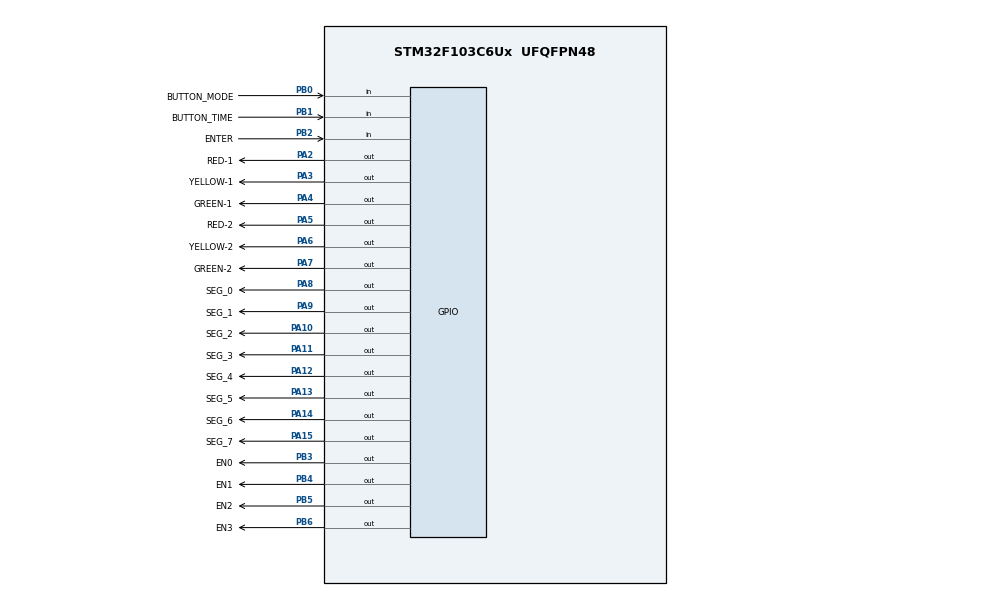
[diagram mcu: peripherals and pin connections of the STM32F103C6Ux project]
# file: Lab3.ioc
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Mcu.Family=STM32F1
Mcu.Name=STM32F103C6Ux
Mcu.Package=UFQFPN48
NVIC.PriorityGroup=NVIC_PRIORITYGROUP_4
NVIC.TIM2_IRQn=true\:0\:0\:false\:false\:true\:true\:true
PA10.GPIO_Label=SEG_2
PA10.Signal=GPIO_Output
PA11.GPIO_Label=SEG_3
PA11.Signal=GPIO_Output
PA12.GPIO_Label=SEG_4
PA12.Signal=GPIO_Output
PA13.GPIO_Label=SEG_5
PA13.Signal=GPIO_Output
PA14.GPIO_Label=SEG_6
PA14.Signal=GPIO_Output
PA15.GPIO_Label=SEG_7
PA15.Signal=GPIO_Output
PA2.GPIO_Label=RED-1
PA2.Signal=GPIO_Output
PA3.GPIO_Label=YELLOW-1
PA3.Signal=GPIO_Output
PA4.GPIO_Label=GREEN-1
PA4.Signal=GPIO_Output
PA5.GPIO_Label=RED-2
PA5.Signal=GPIO_Output
PA6.GPIO_Label=YELLOW-2
PA6.Signal=GPIO_Output
PA7.GPIO_Label=GREEN-2
PA7.Signal=GPIO_Output
PA8.GPIO_Label=SEG_0
PA8.Signal=GPIO_Output
PA9.GPIO_Label=SEG_1
PA9.Signal=GPIO_Output
PB0.GPIO_Label=BUTTON_MODE
PB0.GPIO_PuPd=GPIO_PULLUP
PB0.Signal=GPIO_Input
PB1.GPIO_Label=BUTTON_TIME
PB1.GPIO_PuPd=GPIO_PULLUP
PB1.Signal=GPIO_Input
PB2.GPIO_Label=ENTER
PB2.GPIO_PuPd=GPIO_PULLUP
PB2.Signal=GPIO_Input
PB3.GPIO_Label=EN0
PB3.Signal=GPIO_Output
PB4.GPIO_Label=EN1
PB4.Signal=GPIO_Output
PB5.GPIO_Label=EN2
PB5.Signal=GPIO_Output
PB6.GPIO_Label=EN3
PB6.Signal=GPIO_Output
ProjectManager.HeapSize=0x200
ProjectManager.StackSize=0x400
ProjectManager.TargetToolchain=STM32CubeIDE
RCC.APB1Freq_Value=8000000
RCC.APB2Freq_Value=8000000
TIM2.Period=100-1
TIM2.Prescaler=800-1
VP_SYS_VS_ND.Mode=No_Debug
VP_TIM2_VS_ClockSourceINT.Mode=Internal
board=custom

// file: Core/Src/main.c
/* USER CODE BEGIN Header */
/**
  ******************************************************************************
  * @file           : main.c
  * @brief          : Main program body
  ******************************************************************************
  * @attention
  *
  * <h2><center>&copy; Copyright (c) 2023 STMicroelectronics.
  * All rights reserved.</center></h2>
  *
  * This software component is licensed by ST under BSD 3-Clause license,
  * the "License"; You may not use this file except in compliance with the
  * License. You may obtain a copy of the License at:
  *                        opensource.org/licenses/BSD-3-Clause
  *
  ******************************************************************************
  */
/* USER CODE END Header */
#include "main.h"
#include "tim.h"
#include "gpio.h"

/* USER CODE BEGIN Includes */
#include "software_timer.h"
#include "button.h"
#include "led_display.h"
#include "nomal_traffic_light.h"
#include "traffic_light.h"
/* USER CODE END Includes */

void SystemClock_Config(void);

int main(void)
{

  /* MCU Configuration--------------------------------------------------------*/

  /* Reset of all peripherals, Initializes the Flash interface and the Systick. */
  HAL_Init();

  /* Configure the system clock */
  SystemClock_Config();

  /* Initialize all configured peripherals */
  MX_TIM2_Init();
  MX_GPIO_Init();
  /* USER CODE BEGIN 2 */
  HAL_TIM_Base_Start_IT(&htim2);
  /* USER CODE END 2 */

  /* Infinite loop */
  /* USER CODE BEGIN WHILE */
  setTimer(20);
  setTimer_blink();
//  int count_temp = 4;
  while (1)
  {
	  if(timer_flag){
		  traffic_light();
		  setTimer(20);
		  if(index_led < MAX_LED){
			  update7SEG(index_led++);
		  }
		  else{
			  index_led = 0;
		  }
	  }

    /* USER CODE END WHILE */

  }
}

void SystemClock_Config(void)
{
  RCC_OscInitTypeDef RCC_OscInitStruct = {0};
  RCC_ClkInitTypeDef RCC_ClkInitStruct = {0};

  /** Initializes the RCC Oscillators according to the specified parameters
  * in the RCC_OscInitTypeDef structure.
  */
  RCC_OscInitStruct.OscillatorType = RCC_OSCILLATORTYPE_HSI;
  RCC_OscInitStruct.HSIState = RCC_HSI_ON;
  RCC_OscInitStruct.HSICalibrationValue = RCC_HSICALIBRATION_DEFAULT;
  RCC_OscInitStruct.PLL.PLLState = RCC_PLL_NONE;
  if (HAL_RCC_OscConfig(&RCC_OscInitStruct) != HAL_OK)
  {
    Error_Handler();
  }
  /** Initializes the CPU, AHB and APB buses clocks
  */
  RCC_ClkInitStruct.ClockType = RCC_CLOCKTYPE_HCLK|RCC_CLOCKTYPE_SYSCLK
                              |RCC_CLOCKTYPE_PCLK1|RCC_CLOCKTYPE_PCLK2;
  RCC_ClkInitStruct.SYSCLKSource = RCC_SYSCLKSOURCE_HSI;
  RCC_ClkInitStruct.AHBCLKDivider = RCC_SYSCLK_DIV1;
  RCC_ClkInitStruct.APB1CLKDivider = RCC_HCLK_DIV1;
  RCC_ClkInitStruct.APB2CLKDivider = RCC_HCLK_DIV1;

  if (HAL_RCC_ClockConfig(&RCC_ClkInitStruct, FLASH_LATENCY_0) != HAL_OK)
  {
    Error_Handler();
  }
}

/* USER CODE BEGIN 4 */
void HAL_TIM_PeriodElapsedCallback(TIM_HandleTypeDef *htim){
	timerRun();
	timerRun_blink();
	getKeyInput();
}
/* USER CODE END 4 */

void Error_Handler(void)
{
  __disable_irq();
  while (1)
  {
  }
}

/************************ (C) COPYRIGHT STMicroelectronics *****END OF FILE****/
